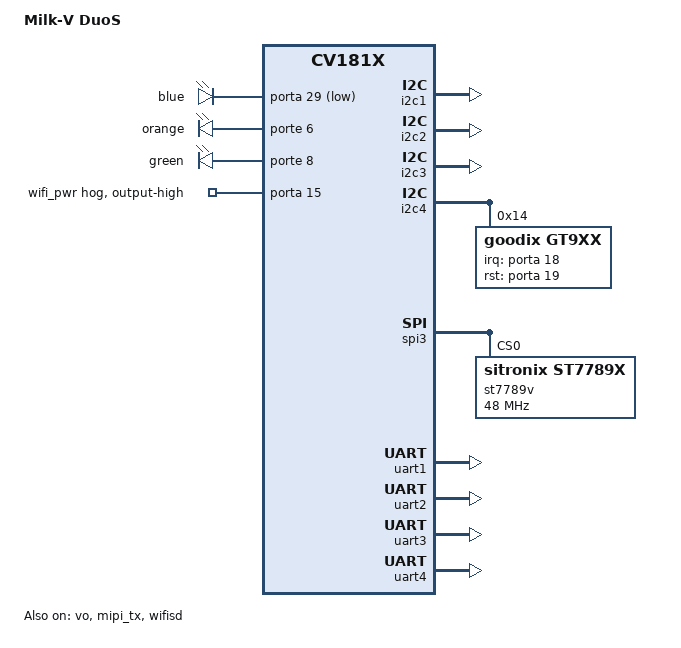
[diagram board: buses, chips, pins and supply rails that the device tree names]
/dts-v1/;
#include "soph_base_riscv.dtsi"
#include "soph_asic_bga.dtsi"
#include "soph_asic_emmc.dtsi"
#include "soph_default_memmap.dtsi"

#include "dt-bindings/leds/common.h"

/ {
	model = "Milk-V DuoS";

	/delete-node/ wifi_pin;
	/delete-node/ bt_pin;

	leds {
		compatible = "gpio-leds";
		led0 {
			gpios = <&porta 29 GPIO_ACTIVE_LOW>;
			linux,default-trigger = "activity";
			function = LED_FUNCTION_HEARTBEAT;
			label = "blue";
		};
		led1 {
			gpios = <&porte 6 GPIO_ACTIVE_HIGH>;
			linux,default-trigger = "netdev";
			function = LED_FUNCTION_HEARTBEAT;
			label = "orange";
		};
		led2 {
			gpios = <&porte 8 GPIO_ACTIVE_HIGH>;
			linux,default-trigger = "stmmac-0:00:link";
			function = LED_FUNCTION_HEARTBEAT;
			label = "green";
		};
	};
};

&mipi_rx {
	snsr-reset = <&porta 2 GPIO_ACTIVE_LOW>, <&porta 2 GPIO_ACTIVE_LOW>, <&porta 2 GPIO_ACTIVE_LOW>;
};

&i2c0 {
	status = "disabled";
};

&i2c1 {
	status = "okay";
};

&i2c2 {
	status = "okay";
};

&i2c3 {
	status = "okay";
};

&i2c4 {
	status = "okay";

	gt9xx: gt9xx@14 {
		compatible = "goodix,gt9xx";
		reg = <0x14>;
		goodix,irq-gpio = <&porta 18 0>;
		goodix,rst-gpio = <&porta 19 GPIO_ACTIVE_HIGH>;
		status = "okay";
	};
};

&spi3 {
	status = "okay";

	/delete-node/ spidev@0;

	st7789v: st7789v@0 {
		compatible = "sitronix,st7789x";
		reg = <0>;
		spi-max-frequency = <48000000>;
		spi-cpol;
		spi-cpha;
		rotate = <0>;
		fps = <60>;
		rgb;
		buswidth = <8>;

		dc = <&porta 18 GPIO_ACTIVE_HIGH>;
		reset = <&porta 28 GPIO_ACTIVE_HIGH>;

		debug = <0x0>;
		status = "okay";
	};
};

&dac {
	/delete-property/ mute-gpio-l;
	/delete-property/ mute-gpio-r;
};

/* mipi dsi for u-boot */
&vo {
	compatible = "cvitek,vo";
	reset-gpio = <&porte 2 GPIO_ACTIVE_LOW>;
	pwm-gpio = <&porte 0 GPIO_ACTIVE_HIGH>;
	power-ct-gpio = <&porte 1 GPIO_ACTIVE_HIGH>;
	status = "okay";
};

/* mipi dsi for kernel */
&mipi_tx {
	compatible = "cvitek,mipi_tx";
	reset-gpio = <&porte 2 GPIO_ACTIVE_LOW>;
	pwm-gpio = <&porte 0 GPIO_ACTIVE_HIGH>;
	power-ct-gpio = <&porte 1 GPIO_ACTIVE_HIGH>;
	status = "okay";
};

&wifisd {
	status = "okay";
	cap-sd-highspeed;
	sd-uhs-sdr25;
	sd-uhs-ddr50;
	sd-uhs-sdr104;
	min-frequency = <400000>;
	max-frequency = <187500000>;
};

&usb {
	vbus-gpio = <&portb 6 0>;
};

&soc_thermal_0 {
	cooling-maps {
		map0 {
			trip = <&soc_thermal_trip_0>;
			cooling-device = <&cooling THERMAL_NO_LIMIT 1>;
		};
		map1 {
			trip = <&soc_thermal_trip_1>;
			cooling-device = <&cooling THERMAL_NO_LIMIT THERMAL_NO_LIMIT>;
		};
	};
};

&porta {
	wifi_pwr {
		gpio-hog;
		gpios = <15 GPIO_ACTIVE_HIGH>;
		output-high;
	};
};

&uart1 {
	status = "okay";
};

&uart2 {
	status = "okay";
};

&uart3 {
	status = "okay";
};

&uart4 {
	status = "okay";
};
